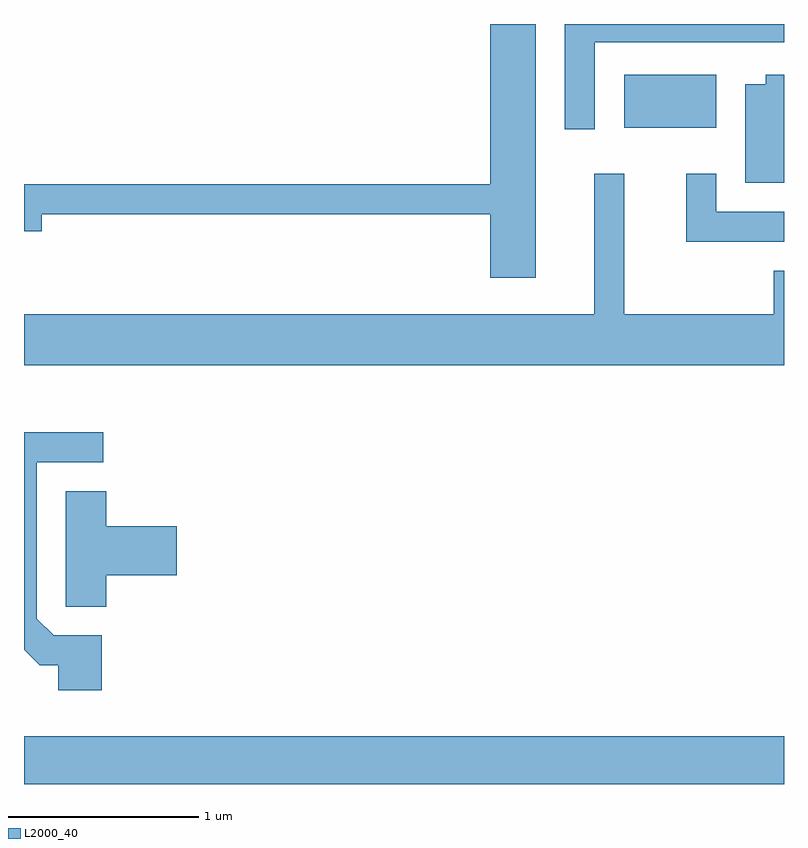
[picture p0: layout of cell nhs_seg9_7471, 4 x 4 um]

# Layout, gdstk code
import gdstk
lib = gdstk.Library(unit=1e-6, precision=1e-09)
def R(c, l, rs):  # rectangles x0, y0, x1, y1
    for r in rs: c.add(gdstk.rectangle(r[:2], r[2:], *l))
def P(c, l, *ps):  # polygons
    for p in ps: c.add(gdstk.Polygon(p, *l))
L2000_40 = (2000, 40)

nhs_seg9_7471 = lib.new_cell('nhs_seg9_7471')
R(nhs_seg9_7471, L2000_40, [(405.611,2058.432,409.611,2058.684), (408.771,2061.886,409.254,2062.164)])
P(nhs_seg9_7471, L2000_40, [(408.304,2062.432),(408.066,2062.432),(408.066,2061.589),(405.611,2061.589),(405.611,2061.341),(405.704,2061.341),(405.704,2061.431),(408.066,2061.431),(408.066,2061.096),(408.304,2061.096)],
  [(408.614,2062.336),(409.611,2062.336),(409.611,2062.432),(408.456,2062.432),(408.456,2061.878),(408.614,2061.878)],
  [(409.611,2062.164),(409.516,2062.164),(409.516,2062.114),(409.406,2062.114),(409.406,2061.596),(409.611,2061.596)],
  [(409.611,2061.134),(409.556,2061.134),(409.556,2060.904),(408.769,2060.904),(408.769,2061.643),(408.611,2061.643),(408.611,2060.904),(405.611,2060.904),(405.611,2060.636),(409.611,2060.636)],
  [(409.611,2061.444),(409.254,2061.444),(409.254,2061.643),(409.096,2061.643),(409.096,2061.286),(409.611,2061.286)],
  [(406.019,2059.214),(405.767,2059.214),(405.679,2059.302),(405.679,2060.126),(406.028,2060.126),(406.028,2060.284),(405.611,2060.284),(405.611,2059.139),(405.694,2059.056),(405.791,2059.056),(405.791,2058.926),(406.019,2058.926)],
  [(406.044,2059.531),(406.414,2059.531),(406.414,2059.789),(406.044,2059.789),(406.044,2059.974),(405.831,2059.974),(405.831,2059.366),(406.044,2059.366)])

lib.write_gds('nhs_seg9_7471.gds')
